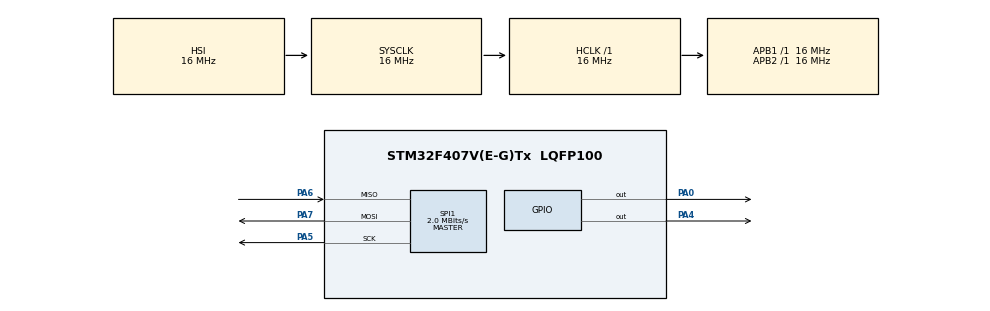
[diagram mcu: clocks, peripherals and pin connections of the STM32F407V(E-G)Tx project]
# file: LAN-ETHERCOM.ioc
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Mcu.Family=STM32F4
Mcu.Name=STM32F407V(E-G)Tx
Mcu.Package=LQFP100
NVIC.PriorityGroup=NVIC_PRIORITYGROUP_4
PA0-WKUP.Signal=GPIO_Output
PA4.Signal=GPIO_Output
PA5.Mode=Full_Duplex_Master
PA5.Signal=SPI1_SCK
PA6.Mode=Full_Duplex_Master
PA6.Signal=SPI1_MISO
PA7.Mode=Full_Duplex_Master
PA7.Signal=SPI1_MOSI
ProjectManager.HeapSize=0x200
ProjectManager.StackSize=0x400
ProjectManager.TargetToolchain=STM32CubeIDE
RCC.AHBFreq_Value=16000000
RCC.APB1Freq_Value=16000000
RCC.APB2Freq_Value=16000000
RCC.CortexFreq_Value=16000000
RCC.HSE_VALUE=25000000
RCC.HSI_VALUE=16000000
RCC.LSE_VALUE=32768
RCC.SYSCLKFreq_VALUE=16000000
RCC.VCOOutputFreq_Value=192000000
SPI1.BaudRatePrescaler=SPI_BAUDRATEPRESCALER_8
SPI1.CalculateBaudRate=2.0 MBits/s
SPI1.Direction=SPI_DIRECTION_2LINES
SPI1.Mode=SPI_MODE_MASTER
SPI1.VirtualType=VM_MASTER
board=custom

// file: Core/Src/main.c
/* USER CODE BEGIN Header */
/**
  ******************************************************************************
  * @file           : main.c
  * @brief          : Main program body
  ******************************************************************************
  * @attention
  *
  * Copyright (c) 2026 STMicroelectronics.
  * All rights reserved.
  *
  * This software is licensed under terms that can be found in the LICENSE file
  * in the root directory of this software component.
  * If no LICENSE file comes with this software, it is provided AS-IS.
  *
  ******************************************************************************
  */
/* USER CODE END Header */
#include "main.h"

/* USER CODE BEGIN Includes */
#include "w5500_spi.h"
#include "w5500_phy.h"
#include "w5500_host_config.h"
#include "wizchip_conf.h"
#include "socket.h"
#include <stdio.h>
/* USER CODE END Includes */

/* USER CODE BEGIN PD */
int __io_putchar(int);
uint8_t status;

/* USER CODE END PD */

/* USER CODE BEGIN PM */
#define SOCKET_ID 0
#define TCP_PORT 5000

uint8_t rx_buffer[512];
uint16_t size;
int32_t len;

/* USER CODE END PM */

SPI_HandleTypeDef hspi1;

/* USER CODE BEGIN PV */
wiz_NetInfo net_info =
{
    .mac  = {0x56,0xC0,0x70,0xD2,0x48,0x10},
    .ip   = {192,168,1,100},
    .sn   = {255,255,255,0},
    .gw   = {192,168,1,1},
    .dns  = {8,8,8,8},
    .dhcp = NETINFO_STATIC
};
/* USER CODE END PV */

void SystemClock_Config(void);
static void MX_GPIO_Init(void);
static void MX_SPI1_Init(void);

int main(void)
{

  /* MCU Configuration--------------------------------------------------------*/

  /* Reset of all peripherals, Initializes the Flash interface and the Systick. */
  HAL_Init();

  /* Configure the system clock */
  SystemClock_Config();

  /* Initialize all configured peripherals */
  MX_GPIO_Init();
  MX_SPI1_Init();

  w5500_init();

  uint8_t version = getVERSIONR();

  printf("Version = 0x%02X\r\n", version);

  wiz_NetInfo netinfo =
  {
      .mac  = {0x00,0x08,0xDC,0x11,0x22,0x33},
      .ip   = {192,168,1,100},
      .sn   = {255,255,255,0},
      .gw   = {192,168,1,1},
      .dns  = {8,8,8,8},
      .dhcp = NETINFO_STATIC
  };

  wizchip_setnetinfo(&netinfo);

  if(socket(SOCKET_ID, Sn_MR_TCP, TCP_PORT, 0) != SOCKET_ID)
  {
      printf("Socket creation failed\r\n");

      while(1);
  }

  printf("Socket created\r\n");

  /* USER CODE END 2 */

  /* Infinite loop */
  while (1)
  {

    /* USER CODE BEGIN 3 */

	  switch(getSn_SR(SOCKET_ID))
	      {
	          //--------------------------------------------------
	          // Socket Closed
	          //--------------------------------------------------
	          case SOCK_CLOSED:

	              printf("Socket Closed\r\n");

	              socket(SOCKET_ID, Sn_MR_TCP, TCP_PORT, 0);

	              break;

	          //--------------------------------------------------
	          // Socket Created
	          //--------------------------------------------------
	          case SOCK_INIT:

	              printf("Listening...\r\n");

	              listen(SOCKET_ID);

	              break;

	          //--------------------------------------------------
	          // Waiting for PC Connection
	          //--------------------------------------------------
	          case SOCK_LISTEN:

	              break;

	          //--------------------------------------------------
	          // PC Connected
	          //--------------------------------------------------
	          case SOCK_ESTABLISHED:

	              // Print only once when connected
	              if(getSn_IR(SOCKET_ID) & Sn_IR_CON)
	              {
	                  setSn_IR(SOCKET_ID, Sn_IR_CON);

	                  printf("PC Connected\r\n");
	              }

	              // Check if data is available
	              size = getSn_RX_RSR(SOCKET_ID);

	              if(size > 0)
	              {
	                  if(size > sizeof(rx_buffer))
	                      size = sizeof(rx_buffer);

	                  len = recv(SOCKET_ID, rx_buffer, size);

	                  if(len > 0)
	                  {
	                      printf("Received %ld Bytes\r\n", len);

	                      printf("Data : ");

	                      for(int i=0;i<len;i++)
	                      {
	                          printf("%c", rx_buffer[i]);
	                      }

	                      printf("\r\n");

	                      // Echo back to PC
	                      send(SOCKET_ID, rx_buffer, len);

	                      printf("Sent Back\r\n");
	                  }
	              }

	              break;

	          //--------------------------------------------------
	          // PC Closed Connection
	          //--------------------------------------------------
	          case SOCK_CLOSE_WAIT:

	              printf("Client Disconnected\r\n");

	              disconnect(SOCKET_ID);

	              break;
	      }

	      HAL_Delay(100);
  }
  /* USER CODE END 3 */
}

void SystemClock_Config(void)
{
  RCC_OscInitTypeDef RCC_OscInitStruct = {0};
  RCC_ClkInitTypeDef RCC_ClkInitStruct = {0};

  /** Configure the main internal regulator output voltage
  */
  __HAL_RCC_PWR_CLK_ENABLE();
  __HAL_PWR_VOLTAGESCALING_CONFIG(PWR_REGULATOR_VOLTAGE_SCALE1);

  /** Initializes the RCC Oscillators according to the specified parameters
  * in the RCC_OscInitTypeDef structure.
  */
  RCC_OscInitStruct.OscillatorType = RCC_OSCILLATORTYPE_HSI;
  RCC_OscInitStruct.HSIState = RCC_HSI_ON;
  RCC_OscInitStruct.HSICalibrationValue = RCC_HSICALIBRATION_DEFAULT;
  RCC_OscInitStruct.PLL.PLLState = RCC_PLL_NONE;
  if (HAL_RCC_OscConfig(&RCC_OscInitStruct) != HAL_OK)
  {
    Error_Handler();
  }

  /** Initializes the CPU, AHB and APB buses clocks
  */
  RCC_ClkInitStruct.ClockType = RCC_CLOCKTYPE_HCLK|RCC_CLOCKTYPE_SYSCLK
                              |RCC_CLOCKTYPE_PCLK1|RCC_CLOCKTYPE_PCLK2;
  RCC_ClkInitStruct.SYSCLKSource = RCC_SYSCLKSOURCE_HSI;
  RCC_ClkInitStruct.AHBCLKDivider = RCC_SYSCLK_DIV1;
  RCC_ClkInitStruct.APB1CLKDivider = RCC_HCLK_DIV1;
  RCC_ClkInitStruct.APB2CLKDivider = RCC_HCLK_DIV1;

  if (HAL_RCC_ClockConfig(&RCC_ClkInitStruct, FLASH_LATENCY_0) != HAL_OK)
  {
    Error_Handler();
  }
}

static void MX_SPI1_Init(void)
{

  /* SPI1 parameter configuration*/
  hspi1.Instance = SPI1;
  hspi1.Init.Mode = SPI_MODE_MASTER;
  hspi1.Init.Direction = SPI_DIRECTION_2LINES;
  hspi1.Init.DataSize = SPI_DATASIZE_8BIT;
  hspi1.Init.CLKPolarity = SPI_POLARITY_LOW;
  hspi1.Init.CLKPhase = SPI_PHASE_1EDGE;
  hspi1.Init.NSS = SPI_NSS_SOFT;
  hspi1.Init.BaudRatePrescaler = SPI_BAUDRATEPRESCALER_8;
  hspi1.Init.FirstBit = SPI_FIRSTBIT_MSB;
  hspi1.Init.TIMode = SPI_TIMODE_DISABLE;
  hspi1.Init.CRCCalculation = SPI_CRCCALCULATION_DISABLE;
  hspi1.Init.CRCPolynomial = 10;
  if (HAL_SPI_Init(&hspi1) != HAL_OK)
  {
    Error_Handler();
  }

}

static void MX_GPIO_Init(void)
{
  GPIO_InitTypeDef GPIO_InitStruct = {0};

  /* GPIO Ports Clock Enable */
  __HAL_RCC_GPIOA_CLK_ENABLE();

  /*Configure GPIO pin Output Level */
  HAL_GPIO_WritePin(GPIOA, GPIO_PIN_0|GPIO_PIN_4, GPIO_PIN_RESET);

  /*Configure GPIO pins : PA0 PA4 */
  GPIO_InitStruct.Pin = GPIO_PIN_0|GPIO_PIN_4;
  GPIO_InitStruct.Mode = GPIO_MODE_OUTPUT_PP;
  GPIO_InitStruct.Pull = GPIO_NOPULL;
  GPIO_InitStruct.Speed = GPIO_SPEED_FREQ_LOW;
  HAL_GPIO_Init(GPIOA, &GPIO_InitStruct);

}

/* USER CODE BEGIN 4 */
int __io_putchar(int ch){
	ITM_SendChar(ch);
	return ch;
}

/* USER CODE END 4 */

void Error_Handler(void)
{
  __disable_irq();
  while (1)
  {
  }
}
